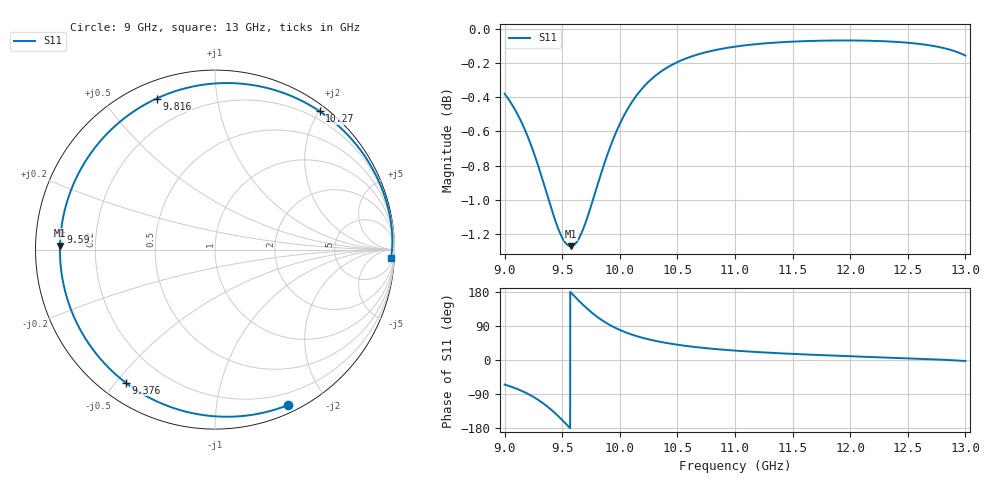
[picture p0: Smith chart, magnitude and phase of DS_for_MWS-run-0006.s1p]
! TOUCHSTONE file generated by CST DESIGN STUDIO
! Date and time: Tue Feb  4 18:10:19 2025
! Project name: C:\Work\MatlabApps\UnitCellOptimizationMatlab\CST\unitcell.cst
! Tree item: Tasks\Sweep1\SPara1\S-Parameters
! Header version: 2024
! Port assignment regex: !\s*Touchstone port\s*([0-9]+)\s*=\s*(CST MWS port|CST DES external port|CST DES block port)\s*(.+)\s* \(\"(.*)\"\)(\s*mode\s*([0-9]+))?.*
! Touchstone port assignment:
! Touchstone port 1 = CST DES external port 1 ("")
# GHz S MA R 50
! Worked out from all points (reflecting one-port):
!   4001 points, 9 GHz to 13 GHz, reference 50 ohm
!   lowest |S11| = -1.3 dB at 9.574 GHz (marker M1), VSWR 13.70, Z = 3.65 + j0.65 ohm
!   phase of S11 starts at -65 deg and turns -298 deg over the sweep
!   S11 on the Smith chart (normalised r, x): 9 GHz: 0.08, -1.57; 9.376 GHz: 0.07, -0.53; 9.59 GHz: 0.07, +0.06; 9.816 GHz: 0.08, +0.68; 10.27 GHz: 0.09, +2.01; 13 GHz: 15, -38
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9  0.9571 -64.8
9.044  0.9525 -69.1
9.111  0.9442 -76.7
9.226  0.9253 -93.2
9.305  0.9089 -107.9
9.376  0.8928 -123.9
9.436  0.8797 -139.7
9.5  0.8689 -158.4
9.538  0.8652 -170.1
9.574  0.8639 178.5
9.59  0.8642 173.4
9.645  0.8685 156.3
9.708  0.8787 138.0
9.761  0.8899 124.0
9.816  0.9024 111.2
9.899  0.9201 94.9
10  0.9379 79.3
10.062  0.9466 71.7
10.128  0.9543 64.7
10.273  0.9665 52.9
10.379  0.9726 46.3
10.5  0.9777 40.3
10.721  0.9837 32.1
11  0.9879 24.8
11.5  0.9912 16.1
12  0.992 10.0
12.5  0.9905 4.5
13  0.982 -2.6
